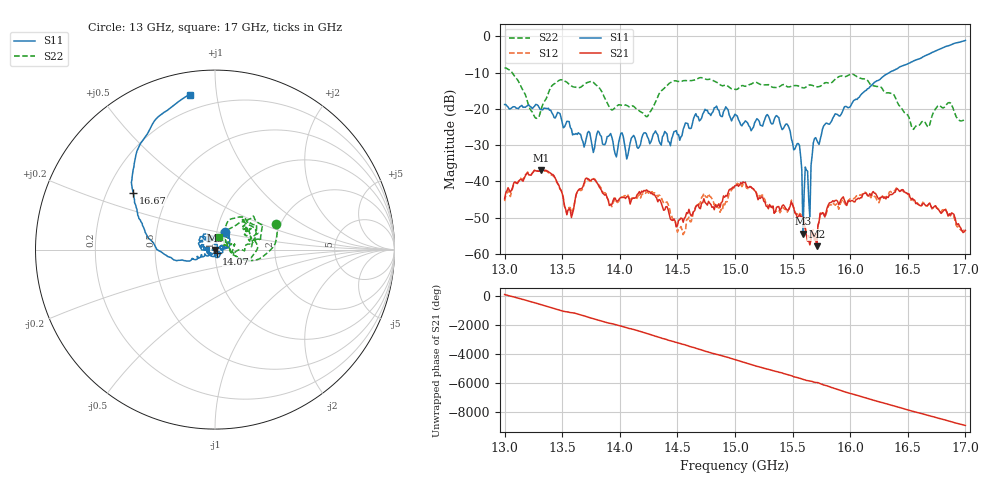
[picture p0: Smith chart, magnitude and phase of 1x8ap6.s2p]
!Keysight Technologies,P9374A,MY57211807,A.19.30.04
!Date: Friday, May 08, 2026 14:32:47
!Correction: S11(C  2-Port  )
!S21(C  2-Port  )
!S12(C  2-Port  )
!S22(C  2-Port  )
!S2P File: Measurements: S11, S21, S12, S22:
# Hz S  dB  R 50
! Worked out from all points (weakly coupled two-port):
!   401 points, 13 GHz to 17 GHz, reference 50 ohm
!   highest |S21| = -36.91 dB at 13.32 GHz (marker M1); lowest = -57.9 dB at 15.71 GHz (marker M2)
!   lowest |S11| = -54.4 dB at 15.59 GHz (marker M3), VSWR 1.00, Z = 50.1 - j0.135 ohm
!   |S11| at or under -10 dB: start of sweep to 16.34 GHz
!   |S22| runs from -25.7 to -8.7 dB; largest |S21 - S12| = 0.0017
!   S11 on the Smith chart (normalised r, x): 13 GHz: 1.10, +0.22; 14.07 GHz: 1.02, -0.04; 16.67 GHz: 0.31, +0.29; 17 GHz: 0.11, +0.84
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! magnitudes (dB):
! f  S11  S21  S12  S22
! 13 GHz  -18.8  -44.8  -45.4  -8.7
! 13.26 GHz  -19.3  -36.9  -36.8  -22.2
! 13.32 GHz  -20.2  -36.9  -36.9  -19.9
! 13.56 GHz  -23.5  -47.5  -47.2  -13.2
! 13.67 GHz  -28.3  -41.9  -42.4  -13.8
! 14.07 GHz  -32.7  -44.1  -43.8  -19.2
! 14.24 GHz  -27.8  -42.5  -42.8  -22.1
! 14.34 GHz  -28.8  -45.0  -43.8  -15.9
! 14.55 GHz  -25.7  -51.3  -54.7  -12.2
! 14.73 GHz  -20.9  -44.8  -43.3  -11.6
! 14.87 GHz  -21.7  -47.2  -48.5  -13.3
! 15 GHz  -21.5  -41.2  -41.1  -14.6
! 15.46 GHz  -24.6  -47.9  -48.2  -14.0
! 15.55 GHz  -29.6  -49.8  -49.4  -13.7
! 15.59 GHz  -54.4  -50.0  -49.6  -14.2
! 15.67 GHz  -32.8  -54.6  -53.8  -13.5
! 15.71 GHz  -28.7  -57.9  -57.8  -13.9
! 15.84 GHz  -23.3  -45.7  -46.4  -12.8
! 16.34 GHz  -10.0  -43.8  -42.9  -15.6
! 16.67 GHz  -5.1  -46.7  -46.8  -24.9
! 16.85 GHz  -2.6  -49.6  -49.4  -18.4
! 17 GHz  -1.2  -53.5  -53.4  -22.9
